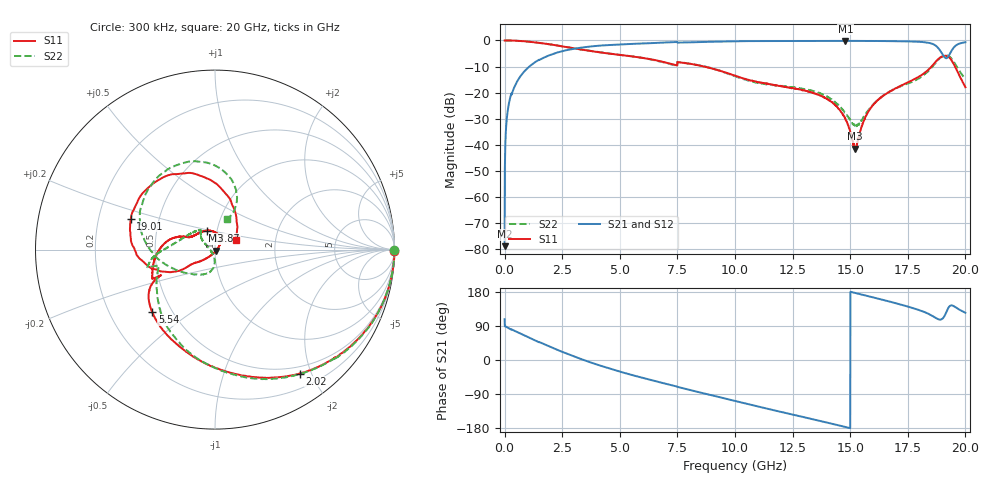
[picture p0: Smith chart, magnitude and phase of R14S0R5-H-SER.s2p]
!{R14S0R5}
!Johanson Technology Inc.
!www.johansontechnology.com
!Test Board Conditions:
!Substrate Type  RO4350B
!Substrate Thickness  20 mil
!Substrate Dk  3.66
!TL Type: GCPW
!TL Trace Width  36 mil
!TL Gap  12 mil
!Electrode orientation  Horizontal
!DUT TOPOLOGY	SERIES
!Mounting Pad LxW  26x36 mil
! Created Wed Nov 25 17:33:21 2020
! 2 Port Network Data from SP1.SP block
! freq  magS11  angS11  magS21  angS21  magS12  angS12  magS22  angS22
# khz S ma R 50
! decimated to every 10th point (10 MHz spacing) of the original 1 MHz Johanson file; values unchanged
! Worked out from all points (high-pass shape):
!   2001 points, 300 kHz to 20 GHz, reference 50 ohm
!   highest |S21| = -0.15 dB at 14.79 GHz (marker M1); lowest = -78.7 dB at 300 kHz (marker M2)
!   |S21| within 3 dB of the highest: 3.031 GHz to 18.84 GHz (15.81 GHz wide, 145 % of centre); 19.45 GHz to end of sweep
!   lowest |S11| = -41.4 dB at 15.22 GHz (marker M3), VSWR 1.02, Z = 50.6 - j0.572 ohm
!   |S11| at or under -10 dB: 8.664 GHz to 18.53 GHz (9.865 GHz wide, 72.6 % of centre); 19.55 GHz to end of sweep
!   |S22| runs from -32.9 to 0.0 dB; largest |S21 - S12| = 0.013
!   S11 on the Smith chart (normalised r, x): 300 kHz: open; 2.02 GHz: 0.40, -1.83; 5.54 GHz: 0.39, -0.36; 12.87 GHz: 0.90, +0.19; 19.01 GHz: 0.34, +0.16; 20 GHz: 1.25, +0.14
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300  0.9978 -0.4  0.0001157 107.8  7.645e-05 109.9  0.9983 -0.2
110300  0.9981 -3.5  0.03686 86.3  0.03695 86.2  0.9993 -3.5
300300  0.9948 -8.7  0.0912 80.8  0.09159 80.7  0.9948 -8.7
930300  0.9591 -26.6  0.277 63.1  0.2773 63.0  0.9594 -26.8
2020300  0.8361 -55.7  0.5364 33.5  0.5374 33.6  0.8349 -56.6
3340300  0.6686 -87.6  0.7296 2.1  0.7308 2.1  0.6697 -88.0
5540300  0.4933 -135.1  0.8586 -39.8  0.8588 -39.8  0.497 -123.9
6670300  0.4089 -150.7  0.9013 -57.7  0.9032 -57.6  0.4025 -143.3
1.00003e7  0.2125 159.9  0.9629 -108.1  0.9655 -108.1  0.2066 165.8
1.28703e7  0.1137 112.7  0.9753 -149.2  0.9759 -149.3  0.12 130.9
1.33403e7  0.1007 93.7  0.9777 -155.9  0.9781 -155.8  0.1095 136.8
1.42103e7  0.0667 63.0  0.9808 -168.3  0.9784 -168.3  0.07319 147.0
1.47903e7  0.0322 42.4  0.9828 -176.8  0.9804 -176.7  0.04079 160.9
1.52203e7  0.008477 -41.8  0.9802 176.9  0.9801 176.9  0.02337 -154.5
1.58103e7  0.04558 -126.9  0.9767 168.0  0.9794 168.0  0.04754 -94.6
1.66703e7  0.1016 -141.7  0.9726 154.7  0.9689 154.8  0.1026 -95.8
1.84003e7  0.2787 -153.1  0.9008 121.7  0.8984 121.8  0.2618 -157.1
1.87303e7  0.3991 -169.3  0.7837 110.4  0.7873 110.5  0.3813 175.7
1.90103e7  0.4996 159.7  0.5395 109.3  0.5418 109.2  0.4968 140.1
1.93503e7  0.4486 107.8  0.5814 143.5  0.5887 143.5  0.4735 91.5
1.96103e7  0.2798 71.1  0.8157 137.7  0.8207 137.9  0.3251 68.0
2e7  0.1272 25.7  0.9242 124.6  0.9221 124.7  0.1835 68.4
